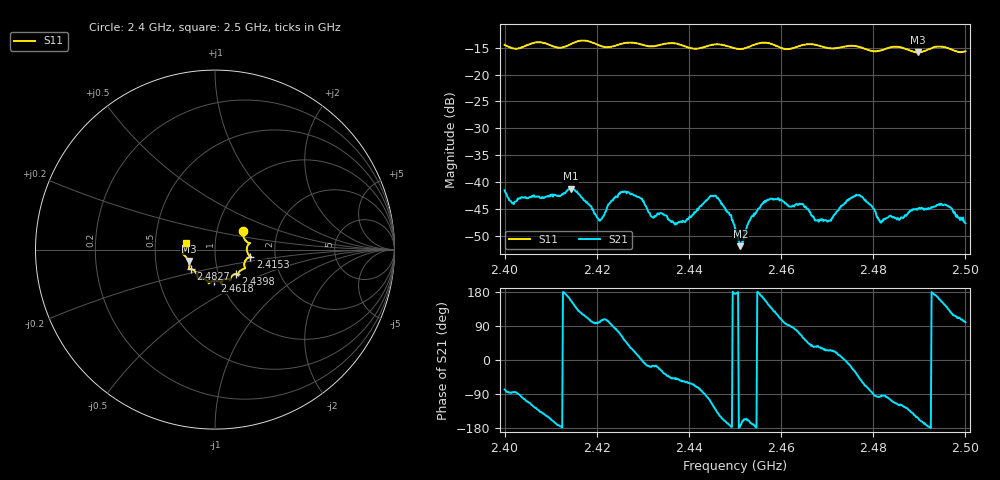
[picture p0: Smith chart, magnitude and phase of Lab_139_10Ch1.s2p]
# Hz S RI R 50
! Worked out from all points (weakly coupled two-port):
!   601 points, 2.4 GHz to 2.5 GHz, reference 50 ohm
!   highest |S21| = -41.19 dB at 2.4143 GHz (marker M1); lowest = -51.9 dB at 2.4512 GHz (marker M2)
!   lowest |S11| = -15.9 dB at 2.4897 GHz (marker M3), VSWR 1.38, Z = 36.9 - j4.86 ohm
!   |S11| at or under -10 dB: start of sweep to end of sweep
!   S12 and S22 are empty: the file has one direction only
!   S11 on the Smith chart (normalised r, x): 2.4 GHz: 1.33, +0.29; 2.4153 GHz: 1.48, -0.12; 2.4398 GHz: 1.21, -0.34; 2.4618 GHz: 0.94, -0.33; 2.4827 GHz: 0.75, -0.17; 2.5 GHz: 0.72, +0.06
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2.4e9  0.1555 0.1063  0.00179 -0.00822  0 0  0 0
2.402e9  0.1579 0.0737  0.000573 -0.00623  0 0  0 0
2.414333e9  0.1887 -0.031  -0.00803 0.00341  0 0  0 0
2.415333e9  0.1964 -0.0387  -0.00638 0.00527  0 0  0 0
2.416667e9  0.2022 -0.0427  -0.00404 0.00602  0 0  0 0
2.4205e9  0.1801 -0.0488  -0.000724 0.00436  0 0  0 0
2.425667e9  0.1665 -0.1004  0.00427 0.007  0 0  0 0
2.433333e9  0.1298 -0.1339  0.00482 -0.00175  0 0  0 0
2.439833e9  0.1154 -0.1358  0.0022 -0.00395  0 0  0 0
2.445333e9  0.0841 -0.1699  -0.00398 -0.00622  0 0  0 0
2.45e9  0.0651 -0.1625  -0.00373 0.000347  0 0  0 0
2.451167e9  0.0523 -0.1643  -0.00252 -0.000344  0 0  0 0
2.456667e9  0.0388 -0.1936  -0.00599 0.00273  0 0  0 0
2.461833e9  -0.0037 -0.1728  -6.62e-05 0.00594  0 0  0 0
2.466667e9  -0.035 -0.1878  0.00378 0.0031  0 0  0 0
2.4705e9  -0.0531 -0.167  0.00396 0.00187  0 0  0 0
2.476667e9  -0.0959 -0.1547  0.00565 -0.00501  0 0  0 0
2.482667e9  -0.1347 -0.1085  -0.000441 -0.00454  0 0  0 0
2.483333e9  -0.1397 -0.1082  -0.000906 -0.00466  0 0  0 0
2.489667e9  -0.1469 -0.0641  -0.00496 -0.00262  0 0  0 0
2.495833e9  -0.1771 -0.0163  -0.00476 0.00387  0 0  0 0
2.5e9  -0.1597 0.0388  -0.00069 0.00409  0 0  0 0
